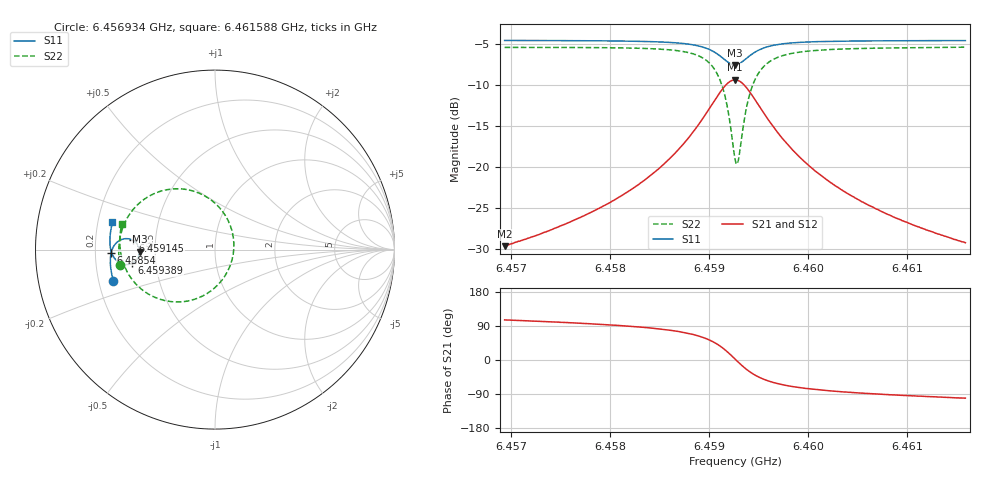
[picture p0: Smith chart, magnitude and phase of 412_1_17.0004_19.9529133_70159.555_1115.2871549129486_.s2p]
#  HZ  S  RI  R  50.00
! Rohde & Schwarz Vector Network Analyzer
! Rohde-Schwarz,ZNB20-2Port,1311601062101988,3.16
! Created: UTC 3/20/2024, 11:10:35 PM
! freq[Hz]  re:S11  im:S11  re:S21  im:S21  re:S12  im:S12  re:S22  im:S22
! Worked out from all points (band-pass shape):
!   401 points, 6.456934 GHz to 6.461588 GHz, reference 50 ohm
!   highest |S21| = -9.34 dB at 6.459261 GHz (marker M1); lowest = -29.6 dB at 6.456934 GHz (marker M2)
!   |S21| within 3 dB of the highest: 6.459029 GHz to 6.459495 GHz (465.4 kHz wide, 0.0072 % of centre)
!   lowest |S11| = -7.5 dB at 6.459261 GHz (marker M3), VSWR 2.45, Z = 20.4 - j0.531 ohm
!   |S11| at or under -10 dB: nowhere
!   |S22| runs from -19.6 to -5.4 dB; largest |S21 - S12| = 0.013
!   S11 on the Smith chart (normalised r, x): 6.456934 GHz: 0.26, -0.14; 6.45854 GHz: 0.27, -0.01; 6.459145 GHz: 0.37, +0.05; 6.459389 GHz: 0.37, -0.07; 6.461588 GHz: 0.26, +0.12
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6.4569344e9  -0.5655 -0.1752  -0.00902 0.0318  -0.00727 0.0318  -0.5298 -0.0884
6.4577139e9  -0.5802 -0.1075  -0.00574 0.0497  -0.00345 0.0491  -0.5361 0.00174
6.4581212e9  -0.5834 -0.0671  -0.000592 0.0675  0.00254 0.0663  -0.5294 0.0648
6.4584935e9  -0.5798 -0.0233  0.0134 0.0974  0.0174 0.0947  -0.504 0.1464
6.45854e9  -0.5784 -0.017  0.0169 0.1028  0.0207 0.0999  -0.4978 0.1595
6.4587494e9  -0.5665 0.0149  0.0424 0.1342  0.0466 0.1295  -0.4499 0.2305
6.4589007e9  -0.5455 0.0412  0.0845 0.1642  0.0877 0.1578  -0.3727 0.2946
6.4590519e9  -0.4999 0.0609  0.1752 0.1834  0.176 0.176  -0.2072 0.3389
6.459145e9  -0.456 0.0511  0.2639 0.1532  0.2641 0.1474  -0.0427 0.2908
6.4591916e9  -0.4349 0.0327  0.3073 0.1112  0.3085 0.106  0.0395 0.2163
6.4592614e9  -0.4201 -0.0107  0.3407 0.0157  0.3442 0.00901  0.1048 0.0395
6.4592846e9  -0.4217 -0.0264  0.3389 -0.0192  0.3426 -0.0273  0.1014 -0.0266
6.4592963e9  -0.4239 -0.0341  0.3353 -0.0362  0.339 -0.045  0.0944 -0.0584
6.4593428e9  -0.4391 -0.0599  0.3075 -0.0955  0.3097 -0.107  0.0385 -0.1706
6.4593894e9  -0.4608 -0.0759  0.2662 -0.1362  0.2655 -0.1491  -0.0449 -0.2452
6.4594824e9  -0.5038 -0.0827  0.1825 -0.1675  0.1766 -0.1788  -0.2112 -0.2917
6.4596337e9  -0.5472 -0.0624  0.0955 -0.1543  0.0872 -0.1604  -0.3771 -0.244
6.4597966e9  -0.5686 -0.0347  0.0512 -0.127  0.0438 -0.1297  -0.4569 -0.173
6.4600409e9  -0.5811 0.000838  0.0222 -0.0959  0.0166 -0.0964  -0.5047 -0.0916
6.4604016e9  -0.5856 0.0432  0.00609 -0.0688  0.00213 -0.0683  -0.5264 -0.0106
6.4608204e9  -0.5835 0.0849  -0.00153 -0.0513  -0.00411 -0.0503  -0.5304 0.0551
6.4615884e9  -0.5711 0.1528  -0.0064 -0.0342  -0.00809 -0.0332  -0.519 0.1447
